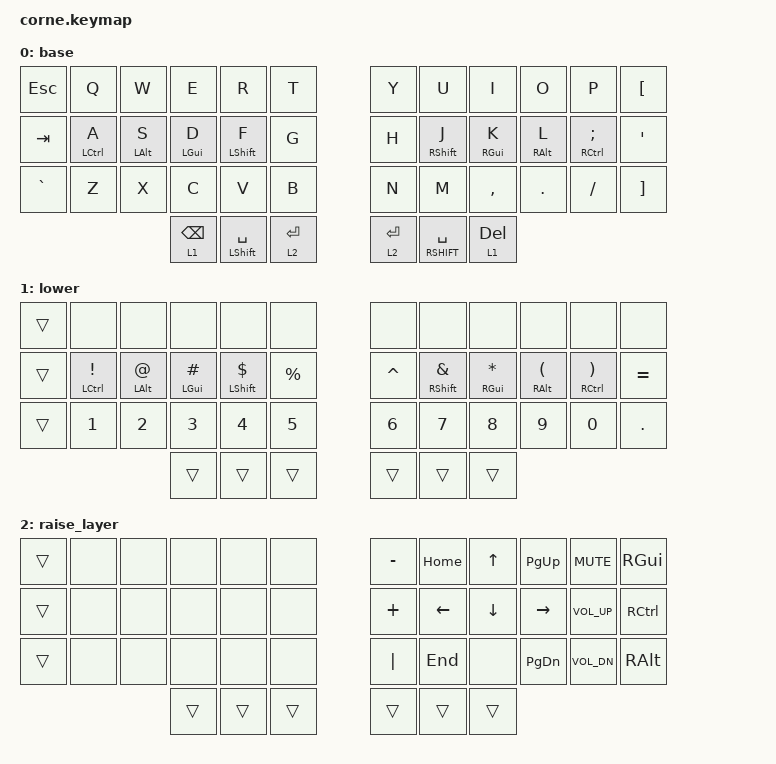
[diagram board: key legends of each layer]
/*
 * Copyright (c) 2020 The ZMK Contributors
 *
 * SPDX-License-Identifier: MIT
 */

#include <behaviors.dtsi>
#include <dt-bindings/zmk/keys.h>
#include <dt-bindings/zmk/bt.h>

#define DEFAULT 0
#define LOWER 1
#define RAISE 2
#define ADJUST 3

/ {
    behaviors {
        hm: homerow_mods {
			compatible = "zmk,behavior-hold-tap";
			label = "HOMEROW_MODS";
			#binding-cells = <2>;
			tapping-term-ms = <220>;
			quick-tap-ms = <500>;
			flavor = "tap-preferred";
			bindings = <&kp>, <&kp>;
            require-prior-idle-ms = <125>;
		};
    };
    
    conditional_layers {
        compatible = "zmk,conditional-layers";
            tri_layer {
                if-layers = <LOWER RAISE>;
                then-layer = <ADJUST>;
            };
    };

    keymap {
        compatible = "zmk,keymap";

        default_layer { 
            display-name = "base";
            bindings = <
// ----------------------------------------------
// |  ESC |  Q  |  W  |   E  |  R  |  T  |   |  Y  |  U   |  I  |  O  |  P  | [ |
// |  TAB |  A  |  S  |   D  |  F  |  G  |   |  H  |  J   |  K  |  L  |  ;  | ' |
// |   `  |  Z  |  X  |   C  |  V  |  B  |   |  N  |  M   |  ,  |  .  |  /  | ] |
//                    | BSPC | SPC | ENT |   | ENT | SCP  | DEL |
                
                &kp ESC    &kp Q        &kp W       &kp E       &kp R            &kp T       &kp Y       &kp U              &kp I       &kp O       &kp P           &kp LBKT
                &kp TAB    &hm LCTRL A  &hm LALT S  &hm LGUI D  &hm LSHIFT F     &kp G       &kp H       &hm RSHIFT J       &hm RGUI K  &hm RALT L  &hm RCTRL SEMI  &kp SQT
                &kp GRAVE  &kp Z        &kp X       &kp C       &kp V            &kp B       &kp N       &kp M              &kp COMMA   &kp DOT     &kp FSLH        &kp RBKT
                                                    &lt 1 BSPC  &mt LSHIFT SPACE &lt 2 RET   &lt 2 RET   &lt RSHIFT SPACE   &lt 1 DEL
            >;
        };
        
        lower_layer {
            display-name = "lower";
            bindings = <
                &trans  &none           &none       &none           &none           &none       &none     &none             &none           &none           &none           &none
                &trans  &hm LCTRL EXCL  &hm LALT AT &hm LGUI HASH   &hm LSHIFT DLLR &kp PRCNT   &kp CARET &hm RSHIFT AMPS   &hm RGUI ASTRK  &hm RALT LPAR   &hm RCTRL RPAR  &kp EQUAL
                &trans  &kp N1          &kp N2      &kp N3          &kp N4          &kp N5      &kp N6    &kp N7            &kp N8          &kp N9          &kp N0          &kp DOT
                                        &trans      &trans          &trans          &trans      &trans    &trans

            >;
        };

        raise_layer {
            bindings = <
                &trans  &none  &none  &none   &none   &none     &kp MINUS  &kp HOME  &kp UP    &kp PG_UP &kp C_MUTE     &kp RGUI
                &trans  &none  &none  &none   &none   &none     &kp PLUS   &kp LEFT  &kp DOWN  &kp RIGHT &kp C_VOL_UP   &kp RCTRL
                &trans  &none  &none  &none   &none   &none     &kp PIPE   &kp END   &none     &kp PG_DN &kp C_VOL_DN &kp RALT
                                      &trans  &trans  &trans    &trans     &trans    &trans
                        >;
                };
        };

        adjust_layer {
            bindings = <
                &bootloader &none &none &none &bt BT_CLR &bt BT_SEL 0     &bt BT_SEL 3 &none &none &none &none &bootloader
                &none       &none &none &none &none      &bt BT_SEL 1     &bt BT_SEL 4 &none &none &none &none &none
                &none       &none &none &none &none      &bt BT_SEL 2     &bt BT_SEL 5 &none &none &none &none &none
                                        &none &none      &none            &none        &none &none
            >;

        };
};
